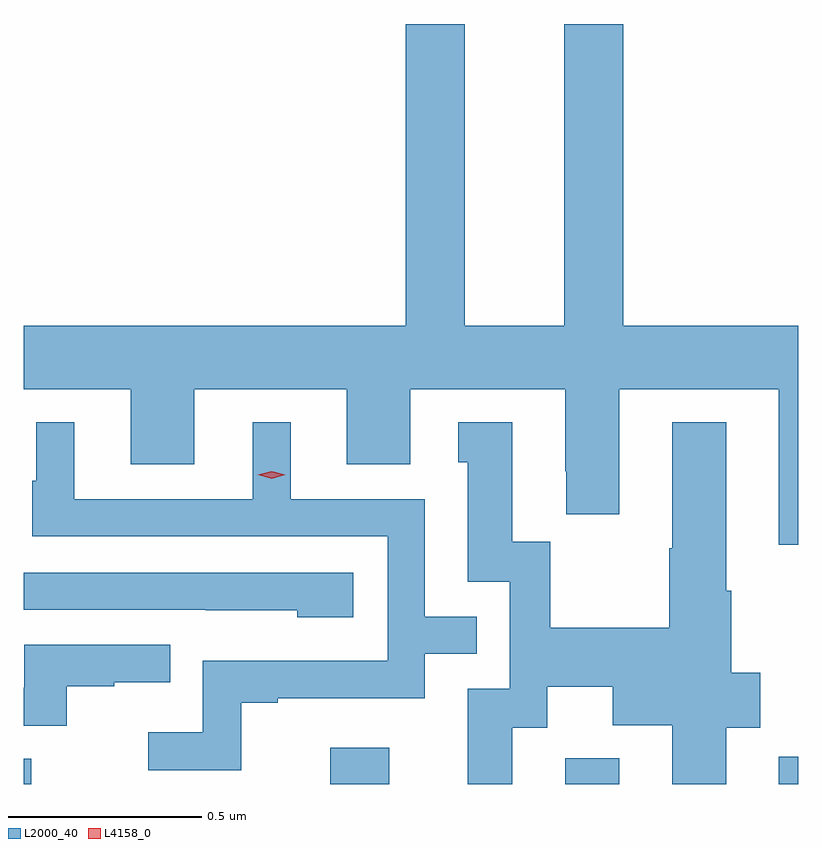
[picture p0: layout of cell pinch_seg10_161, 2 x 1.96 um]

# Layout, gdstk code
import gdstk
lib = gdstk.Library(unit=1e-6, precision=1e-09)
def R(c, l, rs):  # rectangles x0, y0, x1, y1
    for r in rs: c.add(gdstk.rectangle(r[:2], r[2:], *l))
def P(c, l, *ps):  # polygons
    for p in ps: c.add(gdstk.Polygon(p, *l))
L2000_40 = (2000, 40)
L4158_0 = (4158, 0)

pinch_seg10_161 = lib.new_cell('pinch_seg10_161')
R(pinch_seg10_161, L2000_40, [(762.113,1285.977,762.133,1286.042), (762.905,1285.977,763.057,1286.071), (763.511,1285.977,763.651,1286.044), (764.063,1285.977,764.113,1286.047)])
P(pinch_seg10_161, L2000_40, [(764.113,1287.16),(763.661,1287.16),(763.661,1287.939),(763.508,1287.939),(763.508,1287.16),(763.252,1287.16),(763.252,1287.939),(763.1,1287.939),(763.1,1287.16),(762.113,1287.16),(762.113,1286.996),(762.389,1286.996),(762.389,1286.802),(762.553,1286.802),(762.553,1286.996),(762.947,1286.996),(762.947,1286.802),(763.111,1286.802),(763.111,1286.996),(763.511,1286.996),(763.511,1286.785),(763.514,1286.785),(763.514,1286.673),(763.651,1286.673),(763.651,1286.996),(764.063,1286.996),(764.063,1286.595),(764.113,1286.595)],
  [(763.375,1286.122),(763.465,1286.122),(763.465,1286.228),(763.634,1286.228),(763.634,1286.129),(763.787,1286.129),(763.787,1285.977),(763.927,1285.977),(763.927,1286.122),(764.014,1286.122),(764.014,1286.264),(763.94,1286.264),(763.94,1286.476),(763.927,1286.476),(763.927,1286.911),(763.787,1286.911),(763.787,1286.585),(763.78,1286.585),(763.78,1286.38),(763.473,1286.38),(763.473,1286.603),(763.375,1286.603),(763.375,1286.911),(763.235,1286.911),(763.235,1286.808),(763.259,1286.808),(763.259,1286.499),(763.368,1286.499),(763.368,1286.223),(763.259,1286.223),(763.259,1285.977),(763.375,1285.977)],
  [(762.675,1286.187),(762.769,1286.187),(762.769,1286.199),(763.149,1286.199),(763.149,1286.313),(763.283,1286.313),(763.283,1286.409),(763.149,1286.409),(763.149,1286.712),(762.802,1286.712),(762.802,1286.911),(762.704,1286.911),(762.704,1286.712),(762.244,1286.712),(762.244,1286.911),(762.146,1286.911),(762.146,1286.76),(762.135,1286.76),(762.135,1286.616),(763.053,1286.616),(763.053,1286.295),(762.576,1286.295),(762.576,1286.11),(762.435,1286.11),(762.435,1286.012),(762.675,1286.012)],
  [(762.964,1286.523),(762.113,1286.523),(762.113,1286.427),(762.583,1286.427),(762.583,1286.426),(762.819,1286.426),(762.819,1286.408),(762.964,1286.408)],
  [(762.224,1286.229),(762.347,1286.229),(762.347,1286.24),(762.491,1286.24),(762.491,1286.337),(762.114,1286.337),(762.114,1286.225),(762.113,1286.225),(762.113,1286.127),(762.224,1286.127)])
P(pinch_seg10_161, L4158_0, [(762.753,1286.765),(762.717,1286.775),(762.717,1286.775),(762.717,1286.775),(762.753,1286.785),(762.789,1286.775),(762.789,1286.775),(762.789,1286.775)])

lib.write_gds('pinch_seg10_161.gds')
